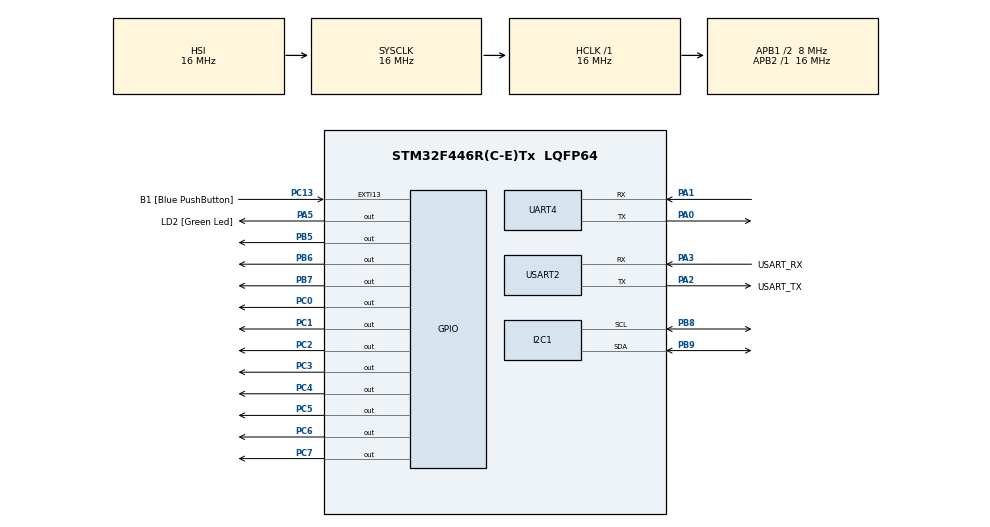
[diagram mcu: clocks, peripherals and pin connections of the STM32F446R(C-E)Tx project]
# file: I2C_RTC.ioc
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Mcu.Family=STM32F4
Mcu.Name=STM32F446R(C-E)Tx
Mcu.Package=LQFP64
NVIC.PriorityGroup=NVIC_PRIORITYGROUP_0
PA0-WKUP.Mode=Asynchronous
PA0-WKUP.Signal=UART4_TX
PA1.Mode=Asynchronous
PA1.Signal=UART4_RX
PA13.GPIO_Label=TMS
PA13.Mode=Serial_Wire
PA13.Signal=SYS_JTMS-SWDIO
PA14.GPIO_Label=TCK
PA14.Mode=Serial_Wire
PA14.Signal=SYS_JTCK-SWCLK
PA2.GPIO_Label=USART_TX
PA2.Mode=Asynchronous
PA2.Signal=USART2_TX
PA3.GPIO_Label=USART_RX
PA3.Mode=Asynchronous
PA3.Signal=USART2_RX
PA5.GPIO_Label=LD2 [Green Led]
PA5.Signal=GPIO_Output
PB3.GPIO_Label=SWO
PB3.Signal=SYS_JTDO-SWO
PB5.Signal=GPIO_Output
PB6.Signal=GPIO_Output
PB7.Signal=GPIO_Output
PB8.Mode=I2C
PB8.Signal=I2C1_SCL
PB9.Mode=I2C
PB9.Signal=I2C1_SDA
PC0.Signal=GPIO_Output
PC1.Signal=GPIO_Output
PC13.GPIO_Label=B1 [Blue PushButton]
PC13.GPIO_ModeDefaultEXTI=GPIO_MODE_IT_FALLING
PC13.Signal=GPXTI13
PC14-OSC32_IN.Mode=LSE-External-Oscillator
PC14-OSC32_IN.Signal=RCC_OSC32_IN
PC15-OSC32_OUT.Mode=LSE-External-Oscillator
PC15-OSC32_OUT.Signal=RCC_OSC32_OUT
PC2.Signal=GPIO_Output
PC3.Signal=GPIO_Output
PC4.Signal=GPIO_Output
PC5.Signal=GPIO_Output
PC6.Signal=GPIO_Output
PC7.Signal=GPIO_Output
PH0-OSC_IN.Mode=HSE-External-Oscillator
PH0-OSC_IN.Signal=RCC_OSC_IN
PH1-OSC_OUT.Mode=HSE-External-Oscillator
PH1-OSC_OUT.Signal=RCC_OSC_OUT
ProjectManager.HeapSize=0x200
ProjectManager.StackSize=0x400
ProjectManager.TargetToolchain=STM32CubeIDE
RCC.48MHZClocksFreq_Value=84000000
RCC.AHBFreq_Value=16000000
RCC.APB1CLKDivider=RCC_HCLK_DIV2
RCC.APB1Freq_Value=8000000
RCC.APB1TimFreq_Value=16000000
RCC.APB2Freq_Value=16000000
RCC.APB2TimFreq_Value=16000000
RCC.CortexFreq_Value=16000000
RCC.FLatency-AdvancedSettings=FLASH_LATENCY_0
RCC.HCLKFreq_Value=16000000
RCC.HSE_VALUE=8000000
RCC.HSI_VALUE=16000000
RCC.PLLN=336
RCC.PLLP=RCC_PLLP_DIV4
RCC.SYSCLKFreq_VALUE=16000000
RCC.USBFreq_Value=168000000
RCC.VCOOutputFreq_Value=336000000
UART4.VirtualMode=Asynchronous
USART2.VirtualMode=VM_ASYNC
board=NUCLEO-F446RE

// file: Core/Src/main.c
/* USER CODE BEGIN Header */
/**
 ******************************************************************************
 * @file           : main.c
 * @brief          : Main program body
 ******************************************************************************
 * @attention
 *
 * <h2><center>&copy; Copyright (c) 2020 STMicroelectronics.
 * All rights reserved.</center></h2>
 *
 * This software component is licensed by ST under BSD 3-Clause license,
 * the "License"; You may not use this file except in compliance with the
 * License. You may obtain a copy of the License at:
 *                        opensource.org/licenses/BSD-3-Clause
 *
 ******************************************************************************
 * Minimal setup:
 *								 _________
 *		32.768 kHz	XTAL1	1 --| o       |-- 8 VDD
 *					XTAL2	2 --|         |-- 7 N/C
 *					N/C		3 --|         |-- 6 SCL1
 *					GND		4 --|_________|-- 7 SDA1
 *
 *				Refer to datasheets for further information.
 *
 */
/* USER CODE END Header */
#include "main.h"

/* USER CODE BEGIN Includes */
#include "ds1307_for_stm32_hal.h"
#include <stdio.h>
#include <string.h>
/* USER CODE END Includes */

I2C_HandleTypeDef hi2c1;

UART_HandleTypeDef huart4;
UART_HandleTypeDef huart2;

void SystemClock_Config(void);
static void MX_GPIO_Init(void);
static void MX_USART2_UART_Init(void);
static void MX_I2C1_Init(void);
static void MX_UART4_Init(void);

int main(void)
{

  /* MCU Configuration--------------------------------------------------------*/

  /* Reset of all peripherals, Initializes the Flash interface and the Systick. */
  HAL_Init();

  /* Configure the system clock */
  SystemClock_Config();

  /* Initialize all configured peripherals */
  MX_GPIO_Init();
  MX_USART2_UART_Init();
  MX_I2C1_Init();
  MX_UART4_Init();
  /* USER CODE BEGIN 2 */
	/* Lookup table for the days of week. */
	const char *DAYS_OF_WEEK[7] = { "Sunday", "Monday", "Tuesday", "Wednesday", "Thursday", "Friday", "Saturday" };
	/* Start DS1307 timing. Pass user I2C handle pointer to function. */
	DS1307_Init(&hi2c1);
	/* To test leap year correction. */
	DS1307_SetTimeZone(+8, 00);
	DS1307_SetDate(29);
	DS1307_SetMonth(2);
	DS1307_SetYear(2024);
	DS1307_SetDayOfWeek(4);
	DS1307_SetHour(23);
	DS1307_SetMinute(59);
	DS1307_SetSecond(30);
  /* USER CODE END 2 */

  /* Infinite loop */
  /* USER CODE BEGIN WHILE */
	while (1) {
		/* Get current date and time. */
		uint8_t date = DS1307_GetDate();
		uint8_t month = DS1307_GetMonth();
		uint16_t year = DS1307_GetYear();
		uint8_t dow = DS1307_GetDayOfWeek();
		uint8_t hour = DS1307_GetHour();
		uint8_t minute = DS1307_GetMinute();
		uint8_t second = DS1307_GetSecond();
		int8_t zone_hr = DS1307_GetTimeZoneHour();
		uint8_t zone_min = DS1307_GetTimeZoneMin();
		char buffer[100] = { 0 };
		sprintf(buffer, "ISO8601 FORMAT: %04d-%02d-%02dT%02d:%02d:%02d%+03d:%02d  %s\n",
				year, month, date, hour, minute, second, zone_hr, zone_min, DAYS_OF_WEEK[dow]);
		/* May show warning below. Ignore and proceed. */
		HAL_UART_Transmit(&huart2, buffer, strlen(buffer), 1000);
		HAL_Delay(250);
    /* USER CODE END WHILE */

	}
}

void SystemClock_Config(void)
{
  RCC_OscInitTypeDef RCC_OscInitStruct = {0};
  RCC_ClkInitTypeDef RCC_ClkInitStruct = {0};

  /** Configure the main internal regulator output voltage
  */
  __HAL_RCC_PWR_CLK_ENABLE();
  __HAL_PWR_VOLTAGESCALING_CONFIG(PWR_REGULATOR_VOLTAGE_SCALE3);

  /** Initializes the RCC Oscillators according to the specified parameters
  * in the RCC_OscInitTypeDef structure.
  */
  RCC_OscInitStruct.OscillatorType = RCC_OSCILLATORTYPE_HSI;
  RCC_OscInitStruct.HSIState = RCC_HSI_ON;
  RCC_OscInitStruct.HSICalibrationValue = RCC_HSICALIBRATION_DEFAULT;
  RCC_OscInitStruct.PLL.PLLState = RCC_PLL_NONE;
  if (HAL_RCC_OscConfig(&RCC_OscInitStruct) != HAL_OK)
  {
    Error_Handler();
  }

  /** Initializes the CPU, AHB and APB buses clocks
  */
  RCC_ClkInitStruct.ClockType = RCC_CLOCKTYPE_HCLK|RCC_CLOCKTYPE_SYSCLK
                              |RCC_CLOCKTYPE_PCLK1|RCC_CLOCKTYPE_PCLK2;
  RCC_ClkInitStruct.SYSCLKSource = RCC_SYSCLKSOURCE_HSI;
  RCC_ClkInitStruct.AHBCLKDivider = RCC_SYSCLK_DIV1;
  RCC_ClkInitStruct.APB1CLKDivider = RCC_HCLK_DIV2;
  RCC_ClkInitStruct.APB2CLKDivider = RCC_HCLK_DIV1;

  if (HAL_RCC_ClockConfig(&RCC_ClkInitStruct, FLASH_LATENCY_0) != HAL_OK)
  {
    Error_Handler();
  }
}

static void MX_I2C1_Init(void)
{

  hi2c1.Instance = I2C1;
  hi2c1.Init.ClockSpeed = 100000;
  hi2c1.Init.DutyCycle = I2C_DUTYCYCLE_2;
  hi2c1.Init.OwnAddress1 = 0;
  hi2c1.Init.AddressingMode = I2C_ADDRESSINGMODE_7BIT;
  hi2c1.Init.DualAddressMode = I2C_DUALADDRESS_DISABLE;
  hi2c1.Init.OwnAddress2 = 0;
  hi2c1.Init.GeneralCallMode = I2C_GENERALCALL_DISABLE;
  hi2c1.Init.NoStretchMode = I2C_NOSTRETCH_DISABLE;
  if (HAL_I2C_Init(&hi2c1) != HAL_OK)
  {
    Error_Handler();
  }

}

static void MX_UART4_Init(void)
{

  huart4.Instance = UART4;
  huart4.Init.BaudRate = 115200;
  huart4.Init.WordLength = UART_WORDLENGTH_8B;
  huart4.Init.StopBits = UART_STOPBITS_1;
  huart4.Init.Parity = UART_PARITY_NONE;
  huart4.Init.Mode = UART_MODE_TX_RX;
  huart4.Init.HwFlowCtl = UART_HWCONTROL_NONE;
  huart4.Init.OverSampling = UART_OVERSAMPLING_16;
  if (HAL_UART_Init(&huart4) != HAL_OK)
  {
    Error_Handler();
  }

}

static void MX_USART2_UART_Init(void)
{

  huart2.Instance = USART2;
  huart2.Init.BaudRate = 115200;
  huart2.Init.WordLength = UART_WORDLENGTH_8B;
  huart2.Init.StopBits = UART_STOPBITS_1;
  huart2.Init.Parity = UART_PARITY_NONE;
  huart2.Init.Mode = UART_MODE_TX_RX;
  huart2.Init.HwFlowCtl = UART_HWCONTROL_NONE;
  huart2.Init.OverSampling = UART_OVERSAMPLING_16;
  if (HAL_UART_Init(&huart2) != HAL_OK)
  {
    Error_Handler();
  }

}

static void MX_GPIO_Init(void)
{
  GPIO_InitTypeDef GPIO_InitStruct = {0};

  /* GPIO Ports Clock Enable */
  __HAL_RCC_GPIOC_CLK_ENABLE();
  __HAL_RCC_GPIOH_CLK_ENABLE();
  __HAL_RCC_GPIOA_CLK_ENABLE();
  __HAL_RCC_GPIOB_CLK_ENABLE();

  /*Configure GPIO pin Output Level */
  HAL_GPIO_WritePin(GPIOC, GPIO_PIN_0|GPIO_PIN_1|GPIO_PIN_2|GPIO_PIN_3
                          |GPIO_PIN_4|GPIO_PIN_5|GPIO_PIN_6|GPIO_PIN_7, GPIO_PIN_RESET);

  /*Configure GPIO pin Output Level */
  HAL_GPIO_WritePin(LD2_GPIO_Port, LD2_Pin, GPIO_PIN_RESET);

  /*Configure GPIO pin Output Level */
  HAL_GPIO_WritePin(GPIOB, GPIO_PIN_5|GPIO_PIN_6|GPIO_PIN_7, GPIO_PIN_RESET);

  /*Configure GPIO pin : B1_Pin */
  GPIO_InitStruct.Pin = B1_Pin;
  GPIO_InitStruct.Mode = GPIO_MODE_IT_FALLING;
  GPIO_InitStruct.Pull = GPIO_NOPULL;
  HAL_GPIO_Init(B1_GPIO_Port, &GPIO_InitStruct);

  /*Configure GPIO pins : PC0 PC1 PC2 PC3
                           PC4 PC5 PC6 PC7 */
  GPIO_InitStruct.Pin = GPIO_PIN_0|GPIO_PIN_1|GPIO_PIN_2|GPIO_PIN_3
                          |GPIO_PIN_4|GPIO_PIN_5|GPIO_PIN_6|GPIO_PIN_7;
  GPIO_InitStruct.Mode = GPIO_MODE_OUTPUT_PP;
  GPIO_InitStruct.Pull = GPIO_NOPULL;
  GPIO_InitStruct.Speed = GPIO_SPEED_FREQ_LOW;
  HAL_GPIO_Init(GPIOC, &GPIO_InitStruct);

  /*Configure GPIO pin : LD2_Pin */
  GPIO_InitStruct.Pin = LD2_Pin;
  GPIO_InitStruct.Mode = GPIO_MODE_OUTPUT_PP;
  GPIO_InitStruct.Pull = GPIO_NOPULL;
  GPIO_InitStruct.Speed = GPIO_SPEED_FREQ_LOW;
  HAL_GPIO_Init(LD2_GPIO_Port, &GPIO_InitStruct);

  /*Configure GPIO pins : PB5 PB6 PB7 */
  GPIO_InitStruct.Pin = GPIO_PIN_5|GPIO_PIN_6|GPIO_PIN_7;
  GPIO_InitStruct.Mode = GPIO_MODE_OUTPUT_PP;
  GPIO_InitStruct.Pull = GPIO_NOPULL;
  GPIO_InitStruct.Speed = GPIO_SPEED_FREQ_LOW;
  HAL_GPIO_Init(GPIOB, &GPIO_InitStruct);

}

void Error_Handler(void)
{
}
